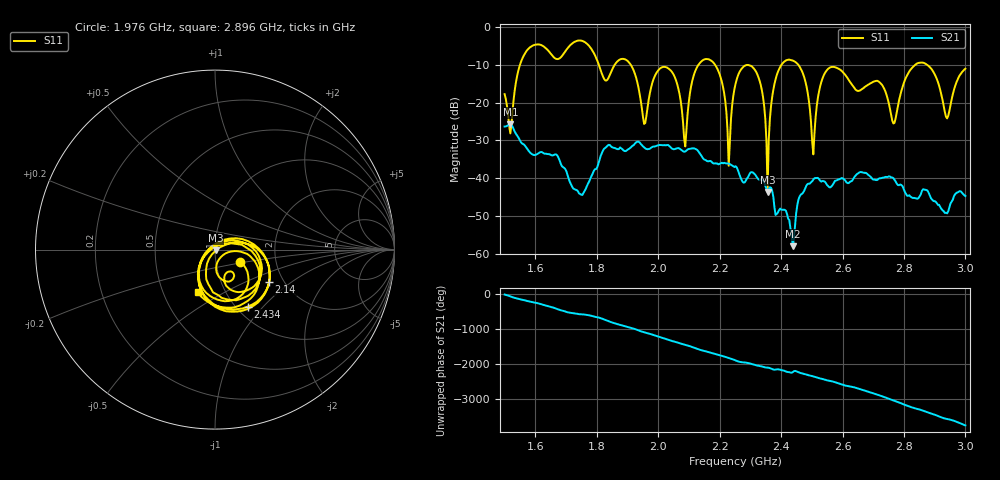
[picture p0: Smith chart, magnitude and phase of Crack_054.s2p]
# HZ S RI R 50
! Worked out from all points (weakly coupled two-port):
!   404 points, 1.5 GHz to 3 GHz, reference 50 ohm
!   highest |S21| = -25.75 dB at 1.519 GHz (marker M1); lowest = -58.0 dB at 2.438 GHz (marker M2)
!   lowest |S11| = -43.7 dB at 2.356 GHz (marker M3), VSWR 1.01, Z = 50.5 - j0.436 ohm
!   |S11| at or under -10 dB: 1.911 GHz to 2.131 GHz (219.5 MHz wide, 10.9 % of centre); 2.457 GHz to 2.836 GHz (379.3 MHz wide, 14.3 % of centre); 2.876 GHz to end of sweep (the widest 3 of 7)
!   S12 and S22 are empty: the file has one direction only
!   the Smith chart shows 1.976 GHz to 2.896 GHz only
!   S11 on the Smith chart (normalised r, x): 1.976 GHz: 1.31, -0.18; 2.14 GHz: 1.68, -0.70; 2.434 GHz: 1.12, -0.82; 2.896 GHz: 0.75, -0.38
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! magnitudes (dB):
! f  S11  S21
! 1.5 GHz  -17.7  -26.3
! 1.519 GHz  -28.1  -25.8
! 1.578 GHz  -5.6  -32.7
! 1.753 GHz  -3.6  -44.4
! 1.976 GHz  -16.1  -31.9
! 2.002 GHz  -11.2  -31.2
! 2.088 GHz  -31.6  -32.9
! 2.14 GHz  -9.1  -34.0
! 2.196 GHz  -11.6  -36.3
! 2.23 GHz  -36.7  -36.2
! 2.252 GHz  -14.9  -36.8
! 2.319 GHz  -11.8  -39.4
! 2.356 GHz  -43.7  -43.3
! 2.386 GHz  -12.7  -49.5
! 2.434 GHz  -8.7  -54.9
! 2.438 GHz  -8.8  -58.0
! 2.501 GHz  -30.3  -40.8
! 2.561 GHz  -10.6  -42.4
! 2.751 GHz  -20.1  -39.5
! 2.896 GHz  -11.8  -46.0
! 2.94 GHz  -24.2  -49.3
! 3 GHz  -11.0  -44.7
